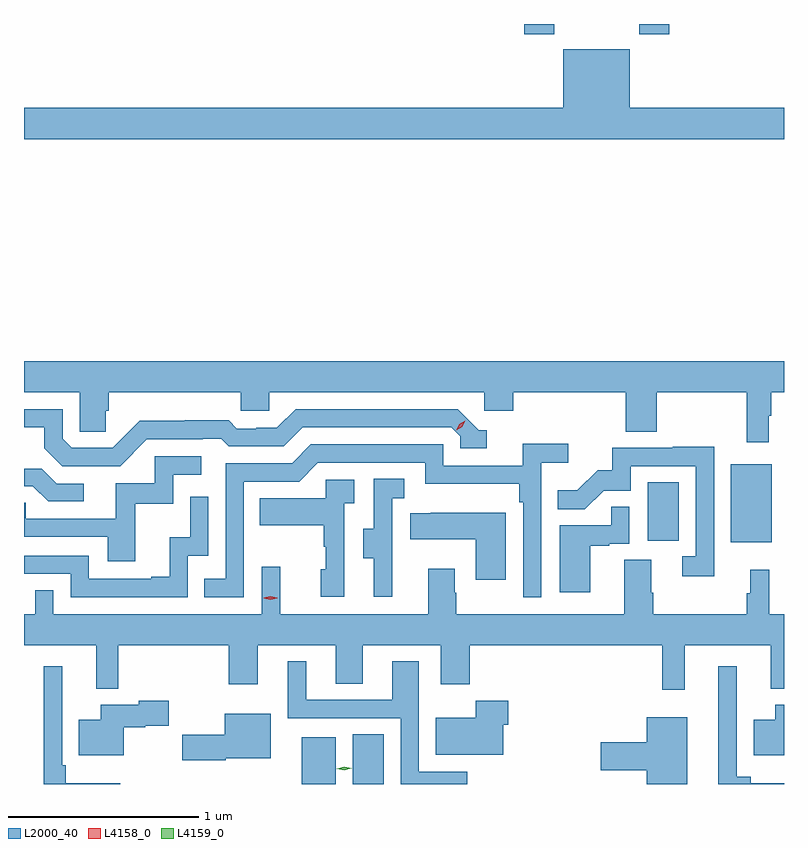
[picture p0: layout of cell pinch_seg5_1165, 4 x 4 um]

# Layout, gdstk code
import gdstk
lib = gdstk.Library(unit=1e-6, precision=1e-09)
def R(c, l, rs):  # rectangles x0, y0, x1, y1
    for r in rs: c.add(gdstk.rectangle(r[:2], r[2:], *l))
def P(c, l, *ps):  # polygons
    for p in ps: c.add(gdstk.Polygon(p, *l))
L2000_40 = (2000, 40)
L4158_0 = (4158, 0)
L4159_0 = (4159, 0)

pinch_seg5_1165 = lib.new_cell('pinch_seg5_1165')
R(pinch_seg5_1165, L2000_40, [(855.071,845.374,855.25,845.62), (855.338,845.374,855.502,845.636), (857.33,846.647,857.545,847.057), (856.892,846.654,857.056,846.961), (856.241,849.321,856.401,849.374), (856.846,849.321,857.006,849.374)])
P(pinch_seg5_1165, L2000_40, [(856.448,849.241),(856.448,848.932),(853.609,848.932),(853.609,848.768),(857.609,848.768),(857.609,848.932),(856.798,848.932),(856.798,849.241)],
  [(857.53,847.313),(857.542,847.313),(857.542,847.436),(857.609,847.436),(857.609,847.6),(853.609,847.6),(853.609,847.436),(853.902,847.436),(853.902,847.228),(854.039,847.228),(854.039,847.338),(854.054,847.338),(854.054,847.436),(854.751,847.436),(854.751,847.338),(854.901,847.338),(854.901,847.436),(856.032,847.436),(856.032,847.338),(856.184,847.338),(856.184,847.436),(856.775,847.436),(856.775,847.228),(856.94,847.228),(856.94,847.436),(857.413,847.436),(857.413,847.173),(857.53,847.173)],
  [(854.256,847.188),(854.549,847.188),(854.549,847.191),(854.648,847.191),(854.687,847.152),(854.976,847.152),(855.075,847.251),(855.858,847.251),(855.906,847.203),(855.906,847.14),(856.045,847.14),(856.045,847.236),(856.002,847.236),(855.891,847.347),(855.038,847.347),(854.939,847.248),(854.832,847.248),(854.832,847.245),(854.729,847.245),(854.687,847.288),(854.454,847.288),(854.454,847.285),(854.218,847.285),(854.076,847.143),(853.86,847.143),(853.812,847.191),(853.812,847.347),(853.609,847.347),(853.609,847.251),(853.715,847.251),(853.715,847.141),(853.809,847.047),(854.115,847.047)],
  [(854.766,846.966),(855.057,846.966),(855.156,847.065),(855.72,847.065),(855.72,846.953),(856.216,846.953),(856.216,846.857),(856.236,846.857),(856.236,846.357),(856.332,846.357),(856.332,847.064),(856.474,847.064),(856.474,847.166),(856.235,847.166),(856.235,847.05),(855.816,847.05),(855.816,847.161),(855.119,847.161),(855.02,847.062),(854.67,847.062),(854.67,846.453),(854.557,846.453),(854.557,846.357),(854.766,846.357)],
  [(857.241,847.148),(857.023,847.148),(857.023,847.143),(856.705,847.143),(856.705,847.026),(856.628,847.026),(856.521,846.919),(856.417,846.919),(856.417,846.82),(856.561,846.82),(856.659,846.918),(856.803,846.918),(856.803,847.047),(857.145,847.047),(857.145,846.573),(857.073,846.573),(857.073,846.468),(857.241,846.468)],
  [(854.195,846.849),(854.394,846.849),(854.394,847.002),(854.542,847.002),(854.542,847.098),(854.298,847.098),(854.298,846.957),(854.093,846.957),(854.093,846.771),(853.619,846.771),(853.619,846.855),(853.609,846.855),(853.609,846.675),(854.051,846.675),(854.051,846.546),(854.195,846.546)],
  [(853.924,846.954),(853.782,846.954),(853.702,847.034),(853.609,847.034),(853.609,846.942),(853.655,846.942),(853.736,846.861),(853.924,846.861)],
  [(855.548,846.573),(855.546,846.573),(855.546,846.877),(855.61,846.877),(855.61,846.98),(855.45,846.98),(855.45,846.717),(855.395,846.717),(855.395,846.562),(855.449,846.562),(855.449,846.36),(855.548,846.36)],
  [(855.294,846.851),(855.346,846.851),(855.346,846.975),(855.198,846.975),(855.198,846.877),(854.851,846.877),(854.851,846.737),(855.186,846.737),(855.186,846.623),(855.196,846.623),(855.196,846.504),(855.17,846.504),(855.17,846.36),(855.294,846.36)],
  [(854.472,846.576),(854.58,846.576),(854.58,846.886),(854.484,846.886),(854.484,846.674),(854.375,846.674),(854.375,846.466),(854.279,846.466),(854.279,846.453),(853.95,846.453),(853.95,846.576),(853.609,846.576),(853.609,846.48),(853.854,846.48),(853.854,846.357),(854.472,846.357)],
  [(856.588,846.627),(856.688,846.627),(856.688,846.639),(856.794,846.639),(856.794,846.833),(856.699,846.833),(856.699,846.735),(856.43,846.735),(856.43,846.384),(856.588,846.384)],
  [(856.144,846.802),(855.751,846.802),(855.751,846.799),(855.643,846.799),(855.643,846.662),(855.986,846.662),(855.986,846.45),(856.144,846.45)],
  [(857.087,846.104),(857.54,846.104),(857.54,845.876),(857.609,845.876),(857.609,846.268),(857.531,846.268),(857.531,846.502),(857.432,846.502),(857.432,846.377),(857.413,846.377),(857.413,846.268),(856.922,846.268),(856.922,846.38),(856.909,846.38),(856.909,846.554),(856.769,846.554),(856.769,846.268),(855.885,846.268),(855.885,846.38),(855.877,846.38),(855.877,846.508),(855.737,846.508),(855.737,846.268),(854.957,846.268),(854.957,846.517),(854.859,846.517),(854.859,846.268),(853.764,846.268),(853.764,846.395),(853.668,846.395),(853.668,846.268),(853.609,846.268),(853.609,846.104),(853.988,846.104),(853.988,845.876),(854.105,845.876),(854.105,846.104),(854.687,846.104),(854.687,845.898),(854.839,845.898),(854.839,846.104),(855.251,846.104),(855.251,845.902),(855.391,845.902),(855.391,846.104),(855.803,846.104),(855.803,845.898),(855.956,845.898),(855.956,846.104),(856.969,846.104),(856.969,845.871),(857.087,845.871)],
  [(855.941,845.439),(855.687,845.439),(855.687,846.019),(855.548,846.019),(855.548,845.817),(855.094,845.817),(855.094,846.019),(854.996,846.019),(854.996,845.721),(855.591,845.721),(855.591,845.374),(855.941,845.374)],
  [(854.116,845.377),(853.829,845.377),(853.829,845.473),(853.809,845.473),(853.809,845.995),(853.712,845.995),(853.712,845.374),(854.116,845.374)],
  [(857.609,845.377),(857.435,845.377),(857.435,845.413),(857.361,845.413),(857.361,845.995),(857.264,845.995),(857.264,845.374),(857.609,845.374)],
  [(854.134,845.674),(854.247,845.674),(854.247,845.681),(854.371,845.681),(854.371,845.811),(854.214,845.811),(854.214,845.791),(854.012,845.791),(854.012,845.713),(853.898,845.713),(853.898,845.525),(854.134,845.525)],
  [(856.132,845.685),(856.157,845.685),(856.157,845.811),(855.986,845.811),(855.986,845.722),(855.776,845.722),(855.776,845.528),(856.132,845.528)],
  [(857.609,845.791),(857.564,845.791),(857.564,845.713),(857.45,845.713),(857.45,845.525),(857.609,845.525)],
  [(854.67,845.51),(854.908,845.51),(854.908,845.743),(854.666,845.743),(854.666,845.632),(854.441,845.632),(854.441,845.498),(854.67,845.498)],
  [(857.101,845.725),(856.886,845.725),(856.886,845.594),(856.644,845.594),(856.644,845.447),(856.886,845.447),(856.886,845.374),(857.101,845.374)])
P(pinch_seg5_1165, L4158_0, [(854.906,846.343),(854.87,846.352),(854.87,846.353),(854.87,846.353),(854.906,846.363),(854.942,846.353),(854.942,846.353),(854.942,846.352)],
  [(855.884,847.235),(855.884,847.236),(855.9,847.268),(855.931,847.287),(855.931,847.287),(855.931,847.287),(855.915,847.255),(855.884,847.235)])
P(pinch_seg5_1165, L4159_0, [(855.294,845.446),(855.255,845.455),(855.254,845.455),(855.255,845.455),(855.294,845.465),(855.334,845.456),(855.334,845.456),(855.334,845.456)])

lib.write_gds('pinch_seg5_1165.gds')
